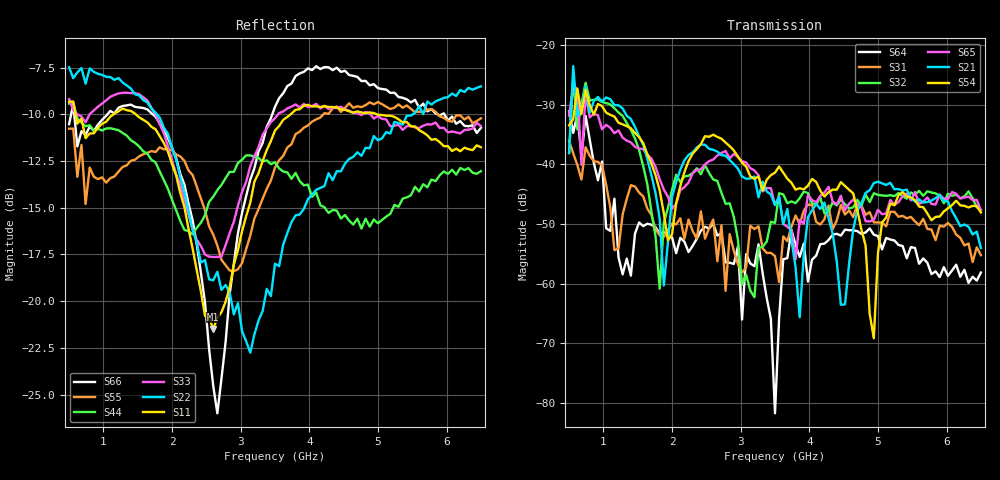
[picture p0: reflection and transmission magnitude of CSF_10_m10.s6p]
!Keysight Technologies,M9804A,MY58100912,A.14.10.03
!Date: Thursday, April 27, 2023 10:28:33
!Correction: S11(C  6-Port  )
!S12(C  6-Port  )
!S13(C  6-Port  )
!S14(C  6-Port  )
!S15(C  6-Port  )
!S16(C  6-Port  )
!S21(C  6-Port  )
!S22(C  6-Port  )
!S23(C  6-Port  )
!S24(C  6-Port  )
!S25(C  6-Port  )
!S26(C  6-Port  )
!S31(C  6-Port  )
!S32(C  6-Port  )
!S33(C  6-Port  )
!S34(C  6-Port  )
!S35(C  6-Port  )
!S36(C  6-Port  )
!S41(C  6-Port  )
!S42(C  6-Port  )
!S43(C  6-Port  )
!S44(C  6-Port  )
!S45(C  6-Port  )
!S46(C  6-Port  )
!S51(C  6-Port  )
!S52(C  6-Port  )
!S53(C  6-Port  )
!S54(C  6-Port  )
!S55(C  6-Port  )
!S56(C  6-Port  )
!S61(C  6-Port  )
!S62(C  6-Port  )
!S63(C  6-Port  )
!S64(C  6-Port  )
!S65(C  6-Port  )
!S66(C  6-Port  )
!S6P File: Measurement: :
# Hz S  RI  R 50
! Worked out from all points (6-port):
!   101 points, 500 MHz to 6.5 GHz, reference 50 ohm
!   strongest paths, dB at 500 MHz, 2 GHz, 3.5 GHz, 5 GHz, 6.5 GHz:
!     S54: -33.5, -51.7, -41.4, -54.9, -48.1
!     S21: -38.0, -45.4, -46.8, -42.9, -54.0
!     S65: -31.8, -47.5, -46.8, -47.6, -47.7
!     S32: -38.1, -44.3, -49.8, -45.1, -47.6
!     S31: -36.1, -49.9, -55.4, -49.8, -55.2
!     S64: -31.1, -52.3, -81.8, -52.0, -58.2
!   lowest |S11| = -21.5 dB at 2.6 GHz (marker M1), VSWR 1.18, Z = 42.6 + j2.39 ohm
!   |S11| at or under -10 dB: 594.5 MHz to 1.149 GHz (554.2 MHz wide, 63.6 % of centre); 1.471 GHz to 3.729 GHz (2.258 GHz wide, 86.9 % of centre); 4.982 GHz to end of sweep
